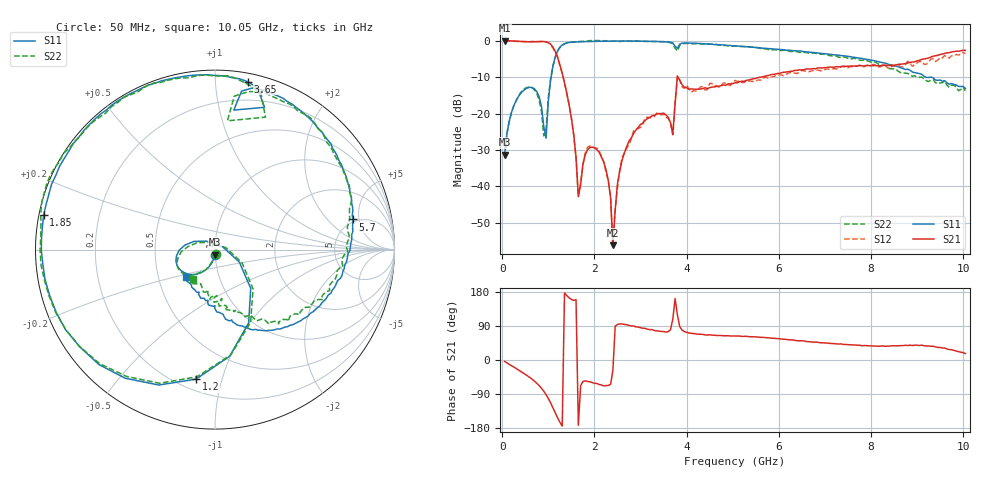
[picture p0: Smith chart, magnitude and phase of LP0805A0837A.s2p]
! AVX THIN FILM OPERATION
! 0805 Size Low Pass Filter P/N  LP0805A0837AWTR
! Network Analyzer HP8720ES.07.64: Feb 23, 2000 Serial No. US39172382
! Hewlett-Packard
!  2 Feb 2003  02:28:13
! Frequency  S11  S21  S12  S22
# HZ  S  DB R  50
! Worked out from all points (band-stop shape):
!   201 points, 50 MHz to 10.05 GHz, reference 50 ohm
!   highest |S21| = -0.03 dB at 50 MHz (marker M1); lowest = -56.2 dB at 2.4 GHz (marker M2)
!   |S21| within 3 dB of the highest: start of sweep to 1.152 GHz; 9.785 GHz to end of sweep
!   lowest |S11| = -31.3 dB at 50 MHz (marker M3), VSWR 1.06, Z = 50 - j2.73 ohm
!   |S11| at or under -10 dB: start of sweep to 1.059 GHz; 9.189 GHz to end of sweep
!   |S22| runs from -32.2 to 0.1 dB; largest |S21 - S12| = 0.15
!   S11 on the Smith chart (normalised r, x): 50 MHz: 1.00, -0.05; 1.2 GHz: 0.27, -0.83; 1.85 GHz: 0.01, +0.10; 3.65 GHz: 0.06, +1.21; 5.7 GHz: 4.66, +4.10; 10.05 GHz: 0.69, -0.22
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5e7  -31.27 -88.4  -0.03 -3.9  0.03 -3.8  -32.23 -72.6
2e8  -19.66 -109.8  -0.05 -15.0  -0.10 -14.9  -19.70 -110.4
5.5e8  -12.96 -150.3  -0.29 -42.0  -0.35 -42.3  -12.82 -148.4
9.5e8  -26.76 18.6  -0.32 -91.4  -0.32 -91.2  -24.20 10.2
1.2e9  -2.74 -98.3  -4.57 -152.6  -4.51 -152.4  -2.91 -98.0
1.5e9  -0.43 -158.4  -21.30 160.0  -21.34 157.6  -0.41 -158.6
1.65e9  -0.33 -174.9  -42.73 -172.2  -42.83 -168.5  -0.24 -175.0
1.75e9  -0.28 176.3  -33.86 -56.7  -34.09 -58.6  -0.24 176.0
1.85e9  -0.23 168.4  -29.97 -56.7  -29.26 -59.4  -0.07 168.2
2.25e9  -0.12 143.3  -35.40 -67.5  -36.12 -68.9  -0.09 144.9
2.35e9  -0.11 137.8  -43.18 -64.3  -42.67 -65.5  -0.15 139.1
2.4e9  -0.11 135.3  -56.23 -26.8  -56.42 -24.4  -0.13 136.2
2.6e9  -0.09 125.4  -32.77 95.2  -32.10 92.0  -0.15 125.8
3.4e9  -0.26 90.9  -20.01 76.1  -20.16 71.4  -0.28 90.2
3.65e9  -0.41 79.0  -22.50 79.7  -22.45 80.5  -0.57 78.1
3.7e9  -0.62 75.3  -25.79 107.8  -25.80 110.3  -0.86 73.6
3.8e9  -2.11 82.3  -9.70 119.2  -9.77 117.5  -2.84 84.5
5.05e9  -1.42 34.0  -11.58 63.0  -10.92 60.4  -1.49 32.9
5.7e9  -2.09 12.3  -9.74 59.2  -10.00 56.0  -2.26 13.4
6.75e9  -3.22 -20.6  -7.67 47.1  -8.15 47.0  -3.37 -19.5
8.4e9  -6.59 -67.8  -6.83 36.6  -7.66 31.2  -7.66 -61.6
1.005e10  -13.08 -136.5  -2.69 17.1  -3.59 14.3  -13.75 -126.6
